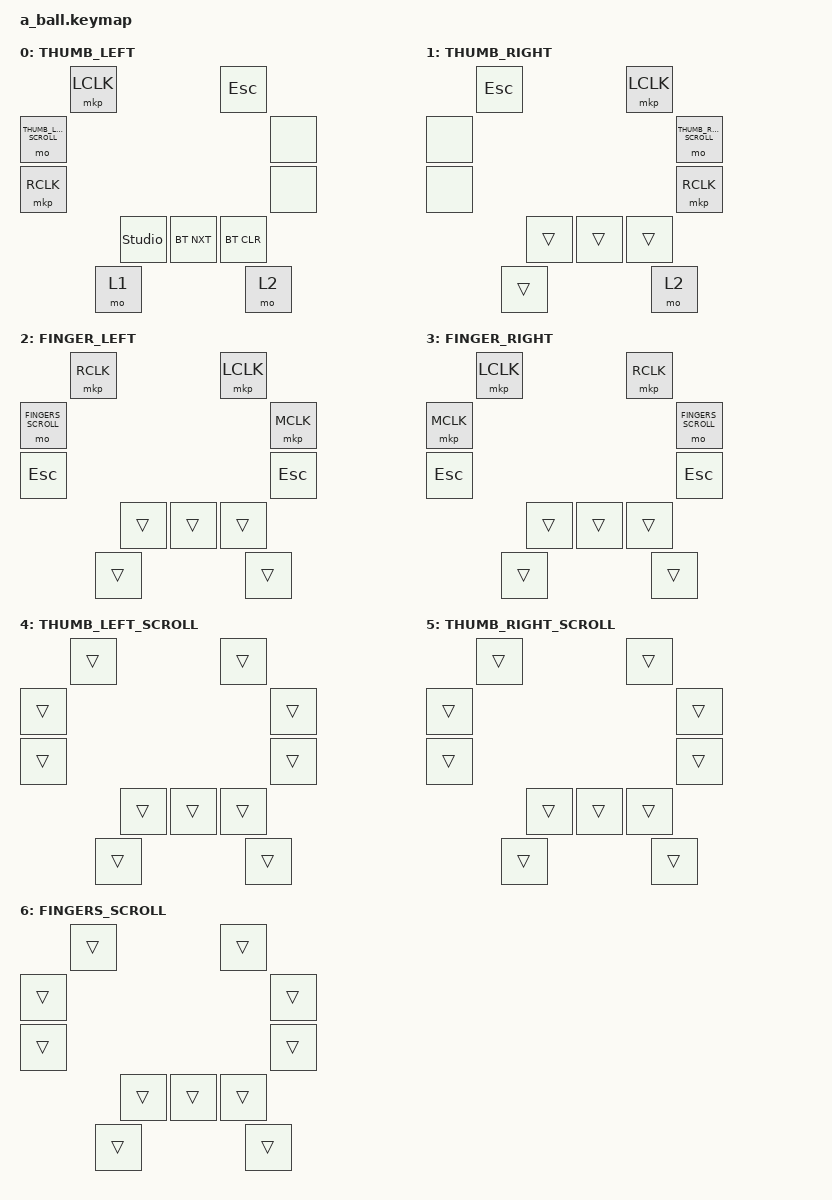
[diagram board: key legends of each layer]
#include <behaviors.dtsi>
#include <dt-bindings/zmk/keys.h>
#include <dt-bindings/zmk/bt.h>
//#include <dt-bindings/zmk/mouse.h>

#include <dt-bindings/zmk/outputs.h>
#include <dt-bindings/zmk/mouse.h>
#include <dt-bindings/zmk/ext_power.h>
//#include <behaviors/mouse_keys.dtsi>
//#include <input/processors.dtsi>


#define THUMB_LEFT  0
#define THUMB_RIGHT 1
#define FINGER_LEFT 2
#define FINGER_RIGHT 3 	// this layer is reached through tri-state conditional layer.
#define THUMB_LEFT_SCROLL  4
#define THUMB_RIGHT_SCROLL 5
#define FINGERS_SCROLL 6

// Mouse speed increased
//#define ZMK_POINTING_DEFAULT_MOVE_VAL 1000  // default: 600
//#define ZMK_POINTING_DEFAULT_SCRL_VAL 15    // default: 10
//#include <dt-bindings/zmk/pointing.h>

/ {
    keymap {
        compatible = "zmk,keymap";

//        map = <
//		                 /* Ball */
//	         	RC(0,3)              RC(0,0) 
//		 RC(0,4)                            RC(0,1)
//   		 RC(0,5) 	                    RC(0,2) 
//                  /* Buttons on top of the middle deck */
//  		       /* Unlock  BTSelect BTReset */ 
//                          RC(0,6) RC(0,7)  RC(0,8)        
//               /* Slider switches on the bottom of the middle deck */
//		/* Handiness L/R   Orientation Thumb/Fingers  */
//                      RC(0,10)               RC(0,9)      
//        >;

// &mkp LCLK &mkp MCLK &mkp RCLK  &none

	// Layer 0
        THUMB_LEFT {
            bindings = <
			&mkp LCLK             	&kp ESC
		&mo THUMB_LEFT_SCROLL		     &none
		&mkp RCLK                            &none
	                   /* Inner Buttons  */
		&studio_unlock  &bt BT_NXT   &bt BT_CLR
                     /* Handiness         Orientation */
			&mo 1                   &mo 2
            >;
        };


	// Layer 1
        THUMB_RIGHT {
            bindings = <
     			&kp ESC        		&mkp LCLK             
	       &none  				     &mo THUMB_RIGHT_SCROLL
	       &none  	 			     &mkp RCLK                     
	                   /* Inner Buttons  */
		            &trans &trans &trans
                     /* Handiness         Orientation */
			&trans                  &mo 2
            >;
        };

	// Layer 2
        FINGER_LEFT {
            bindings = <
			&mkp RCLK		&mkp LCLK             
		&mo FINGERS_SCROLL			&mkp MCLK
		&kp ESC					&kp ESC					
	                   /* Inner Buttons  */
		            &trans &trans &trans
                     /* Handiness         Orientation */
			&trans                  &trans
            >;
        };

	// Layer 3
        FINGER_RIGHT {
            bindings = <
			&mkp LCLK             &mkp RCLK 
		&mkp MCLK				&mo FINGERS_SCROLL
		&kp ESC	        			&kp ESC
	                   /* Inner Buttons  */
		            &trans &trans &trans
                     /* Handiness         Orientation */
			&trans                 &trans
            >;
        };
 

	// Scroll layers do nothing by themselves, it is completely transparent.
	// It is detected in trackball_listener telling to switch from the pointing movement to scrolling.
	// Need separate layers for orientation to implement 
 	// Layers 4, 5, 6
/* 4 */ THUMB_LEFT_SCROLL  {bindings = <&trans &trans &trans &trans &trans &trans &trans &trans &trans &trans &trans>;};
/* 5 */ THUMB_RIGHT_SCROLL {bindings = <&trans &trans &trans &trans &trans &trans &trans &trans &trans &trans &trans>;};
/* 6 */ FINGERS_SCROLL     {bindings = <&trans &trans &trans &trans &trans &trans &trans &trans &trans &trans &trans>;};

        extra1 {status = "reserved";};
        extra2 {status = "reserved";};
        extra3 {status = "reserved";};
        extra4 {status = "reserved";};
        extra5 {status = "reserved";};
        extra6 {status = "reserved";};
        extra7 {status = "reserved";};
        extra8  {status = "reserved";};

     };


    conditional_layers {
        compatible = "zmk,conditional-layers";
        tri_layer {
            if-layers = <FINGER_LEFT THUMB_RIGHT>;
            then-layer = <FINGER_RIGHT>;
        };
    };

};
